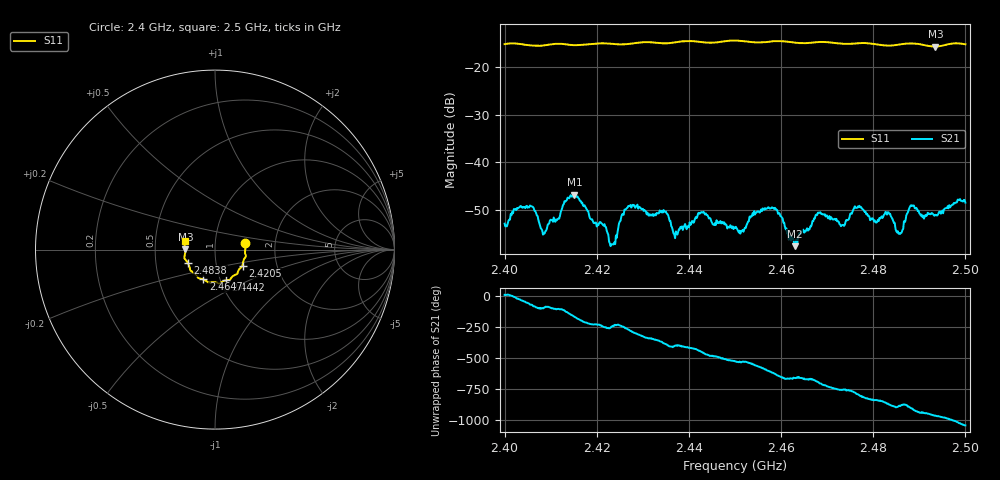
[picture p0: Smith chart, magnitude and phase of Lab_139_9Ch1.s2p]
# Hz S RI R 50
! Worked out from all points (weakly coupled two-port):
!   601 points, 2.4 GHz to 2.5 GHz, reference 50 ohm
!   highest |S21| = -46.84 dB at 2.4152 GHz (marker M1); lowest = -57.7 dB at 2.463 GHz (marker M2)
!   lowest |S11| = -15.7 dB at 2.4935 GHz (marker M3), VSWR 1.39, Z = 35.9 + j0.107 ohm
!   |S11| at or under -10 dB: start of sweep to end of sweep
!   S12 and S22 are empty: the file has one direction only
!   S11 on the Smith chart (normalised r, x): 2.4 GHz: 1.40, +0.11; 2.4205 GHz: 1.34, -0.25; 2.4442 GHz: 1.06, -0.37; 2.4647 GHz: 0.83, -0.29; 2.4838 GHz: 0.73, -0.11; 2.5 GHz: 0.71, +0.07
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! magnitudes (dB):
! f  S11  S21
! 2.4 GHz  -15.2  -52.9
! 2.4057 GHz  -15.4  -49.2
! 2.4087 GHz  -15.4  -55.0
! 2.4152 GHz  -15.4  -46.8
! 2.4167 GHz  -15.3  -48.5
! 2.4205 GHz  -15.0  -52.9
! 2.4235 GHz  -15.1  -57.3
! 2.4268 GHz  -15.1  -49.2
! 2.4333 GHz  -14.9  -50.8
! 2.4372 GHz  -14.8  -54.6
! 2.4442 GHz  -14.9  -51.4
! 2.45 GHz  -14.4  -53.9
! 2.4583 GHz  -14.6  -49.6
! 2.463 GHz  -14.9  -57.7
! 2.4647 GHz  -15.0  -54.4
! 2.4667 GHz  -14.9  -53.1
! 2.4833 GHz  -15.5  -50.6
! 2.4838 GHz  -15.5  -51.4
! 2.4857 GHz  -15.2  -55.0
! 2.4883 GHz  -15.0  -49.2
! 2.4935 GHz  -15.7  -51.1
! 2.5 GHz  -15.2  -48.5
